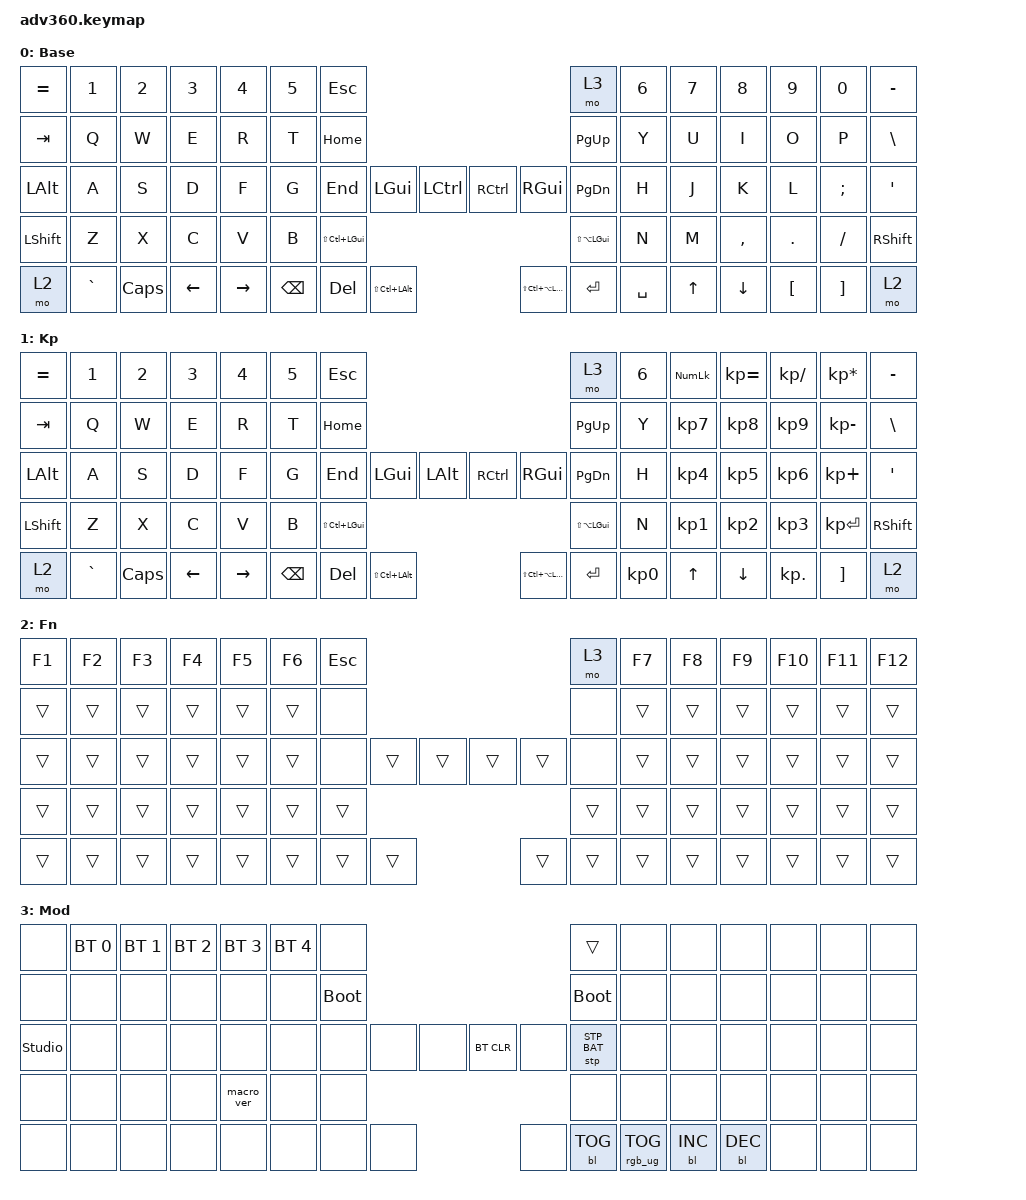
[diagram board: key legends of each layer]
#include <behaviors.dtsi>
#include <dt-bindings/zmk/keys.h>
#include <dt-bindings/zmk/bt.h>
#include <dt-bindings/zmk/rgb.h>
#include <dt-bindings/zmk/stp.h>
#include <dt-bindings/zmk/backlight.h>
#include <dt-bindings/zmk/pointing.h>

/ {
    behaviors {
      #include "macros.dtsi"
      #include "version.dtsi"

     /* Modularize this later */
     #define HYP(key) LS(LC(LA(LG(key))))
     #define HYPER    LS(LC(LA(LGUI)))
     #define ME(key)  LS(LC(LG(key))
     #define MEH      LS(LC(LGUI))
     #define MA(key)  LS(LC(LA(key))
     #define MAH      LS(LC(LALT))
     #define MH(key)  LS(LA(LG(key))
     #define MHA      LS(LA(LGUI))

      hm: homerow_mods {
          compatible = "zmk,behavior-hold-tap";
          label = "HOMEROW_MODS";
          #binding-cells = <2>;
          tapping-term-ms = <200>;
          quick_tap_ms = <175>;
          flavor = "tap-preferred";
          bindings = <&kp>, <&kp>;
      };
    };

  keymap {
    compatible = "zmk,keymap";

    default_layer {
      display-name = "Base";
      bindings = <
        &kp EQUAL &kp N1    &kp N2   &kp N3   &kp N4     &kp N5 &kp ESC                                                         &mo 3     &kp N6 &kp N7 &kp N8    &kp N9   &kp N0   &kp MINUS
        &kp TAB   &kp Q     &kp W    &kp E    &kp R      &kp T  &kp HOME                                                        &kp PG_UP &kp Y  &kp U  &kp I     &kp O    &kp P    &kp BSLH
        &kp LALT  &kp A     &kp S    &kp D    &kp F      &kp G  &kp END         &kp LGUI &kp LCTRL &kp RCTRL  &kp RGUI          &kp PG_DN &kp H  &kp J  &kp K     &kp L    &kp SEMI &kp SQT
        &kp LSHFT &kp Z     &kp X    &kp C    &kp V      &kp B                            &kp MEH  &kp MHA                                &kp N  &kp M  &kp COMMA &kp DOT  &kp FSLH &kp RSHFT
        &mo 2     &kp GRAVE &kp CAPS &kp LEFT &kp RIGHT                &kp BSPC &kp DEL   &kp MAH  &kp HYPER &kp ENTER &kp SPACE                 &kp UP &kp DOWN  &kp LBKT &kp RBKT &mo 2
      >;
    };
    keypad {
      display-name = "Kp";
      bindings = <
        &kp EQUAL &kp N1    &kp N2   &kp N3   &kp N4     &kp N5 &kp ESC                                                          &mo 3     &kp N6 &kp KP_NUM &kp KP_EQUAL &kp KP_DIVIDE &kp KP_MULTIPLY &kp MINUS
        &kp TAB   &kp Q     &kp W    &kp E    &kp R      &kp T  &kp HOME                                                         &kp PG_UP &kp Y  &kp KP_N7  &kp KP_N8    &kp KP_N9     &kp KP_MINUS    &kp BSLH
        &kp LALT  &kp A     &kp S    &kp D    &kp F      &kp G  &kp END         &kp LGUI  &kp LALT &kp RCTRL &kp RGUI            &kp PG_DN &kp H  &kp KP_N4  &kp KP_N5    &kp KP_N6     &kp KP_PLUS     &kp SQT
        &kp LSHFT &kp Z     &kp X    &kp C    &kp V      &kp B                            &kp MEH  &kp MHA                                 &kp N  &kp KP_N1  &kp KP_N2    &kp KP_N3     &kp KP_ENTER    &kp RSHFT
        &mo 2     &kp GRAVE &kp CAPS &kp LEFT &kp RIGHT                &kp BSPC &kp DEL   &kp MAH  &kp HYPER &kp ENTER &kp KP_N0                  &kp UP     &kp DOWN     &kp KP_DOT    &kp RBKT        &mo 2
      >;
    };
    fn {
      display-name = "Fn";
      bindings = <
        &kp F1 &kp F2 &kp F3 &kp F4 &kp F5 &kp F6 &kp ESC                                          &mo 3 &kp F7 &kp F8 &kp F9 &kp F10 &kp F11 &kp F12
        &trans &trans &trans &trans &trans &trans &none                                            &none &trans &trans &trans &trans  &trans  &trans
        &trans &trans &trans &trans &trans &trans &none        &trans &trans &trans &trans         &none &trans &trans &trans &trans  &trans  &trans
        &trans &trans &trans &trans &trans &trans                      &trans &trans                     &trans &trans &trans &trans  &trans  &trans
        &trans &trans &trans &trans &trans               &trans &trans &trans &trans &trans &trans              &trans &trans &trans  &trans  &trans
      >;
    };
    mod {
      display-name = "Mod";
      bindings = <
        &none &bt BT_SEL 0 &bt BT_SEL 1 &bt BT_SEL 2 &bt BT_SEL 3 &bt BT_SEL 4 &none                                                                     &trans                 &none        &none        &none        &none &none &none
        &none &none        &none        &none        &none        &none        &bootloader                                                               &bootloader            &none        &none        &none        &none &none &none
        &studio_unlock &none        &none        &none        &none        &none        &none                   &none &none &bt BT_CLR &none                      &stp STP_BAT &none        &none        &none        &none &none &none
        &none &none        &none        &none        &macro_ver   &none                                      &none &none                                                        &none        &none        &none        &none &none &none
        &none &none        &none        &none        &none                                       &none &none &none &none      &bl BL_TOG &rgb_ug RGB_TOG                                     &bl BL_INC   &bl BL_DEC   &none &none &none
      >;
    };
    extra1 { 
      display-name = "Red";    
      status = "reserved";
    };

    extra2 { 
      display-name = "Purple";    
      status = "reserved";
    };

    extra3 { 
      display-name = "Cyan";    
      status = "reserved";
    };

    extra4 { 
      display-name = "Yellow";    
      status = "reserved";
    };
  };
};
